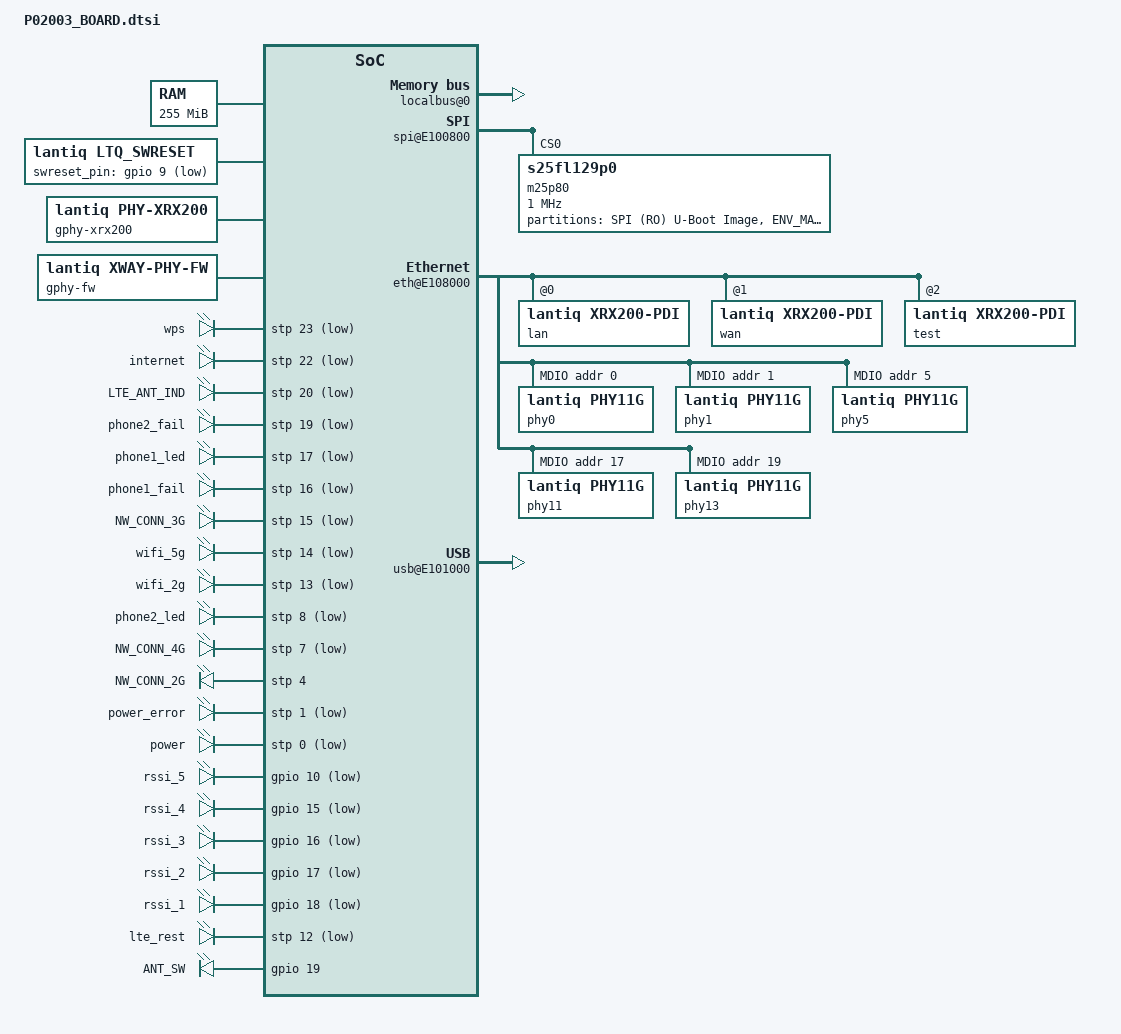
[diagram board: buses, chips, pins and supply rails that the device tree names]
/include/ "xRX330.dtsi"

/ {
	chosen {
		//bootargs = "console=ttyLTQ0,115200 init=/etc/preinit";
	};

	memory@0 {
		reg = <0x0 0xff00000>;
	};

	fpi@10000000 {
		#address-cells = <1>;
		#size-cells = <1>;
		compatible = "lantiq,fpi", "simple-bus";
		ranges = <0x0 0x10000000 0xEEFFFFF>;
		reg = <0x10000000 0xEF00000>;

		localbus@0 {
			#address-cells = <2>;
			#size-cells = <1>;
			compatible = "lantiq,localbus", "simple-bus";

		};

		spi@E100800 {
			compatible = "lantiq,spi-xway-broken", "lantiq,spi-ssc";
			reg = <0xE100800 0x100>;
			interrupt-parent = <&icu0>;
			interrupts = <22 23 24>;
			#address-cells = <1>;
			#size-cells = <1>;

			m25p80@0 {
				#address-cells = <1>;
				#size-cells = <1>;
				compatible = "s25fl129p0";
				reg = <0 0>;
				linux,modalias = "m25p80", "mx25l3205d";
				spi-max-frequency = <1000000>;

				partition@0 {
					reg = <0x0 0x20000>;
					label = "SPI (RO) U-Boot Image";
					read-only;
				};

				partition@20000 {
					reg = <0x20000 0x10000>;
					label = "ENV_MAC";
					read-only;
				};

				partition@30000 {
					reg = <0x30000 0x10000>;
					label = "DPF";
					read-only;
				};

				partition@40000 {
					reg = <0x40000 0x10000>;
					label = "NVRAM";
					read-only;
				};

				partition@500000 {
					reg = <0x50000 0x003a0000>;
					label = "kernel";
				};
			};
		};

		gpio: pinmux@E100B10 {
			compatible = "lantiq,pinctrl-ar10";
			pinctrl-names = "default";
			pinctrl-0 = <&state_default>;

			interrupt-parent = <&icu0>;
			interrupts = <166 135 66 40 41 42 38>;

			#gpio-cells = <2>;
			gpio-controller;
			reg = <0xE100B10 0xA0>;

			state_default: pinmux {
				exin3 {
					lantiq,groups = "exin3";
					lantiq,function = "exin";
				};
				stp {
					lantiq,groups = "stp";
					lantiq,function = "stp";
				};
				spi {
					lantiq,groups = "spi", "spi_cs1";
					lantiq,function = "spi";
				};
				nand {
					lantiq,groups = "nand cle", "nand ale",
							"nand rd", "nand rdy";
					lantiq,function = "ebu";
				};
				mdio {
					lantiq,groups = "mdio";
					lantiq,function = "mdio";
				};
				tdm {
					lantiq,groups = "tdm";
					lantiq,function = "tdm";
				};
				conf_out {
					lantiq,pins = "io24", "io13", "io49", /* nand cle, ale and rd */
							"io4", "io5", "io6", /* stp */
							"io15", "io17", "io18", /* spi */
							"io21",
							"io33";
					lantiq,open-drain = <0>;
					lantiq,pull = <0>;
					lantiq,output = <1>;
				};
				conf_in {
					lantiq,pins = "io39", /* exin3 */
						       "io48", /* nand rdy */
						       "io16"; /* spi in */

					lantiq,pull = <2>;
				};
				tdm_conf_di {
					lantiq,pins = "io26";
					lantiq,output = <0>;
				};
				tdm_conf_dsc {
					lantiq,pins = "io27";
					lantiq,open-drain = <0>;
					lantiq,output = <0>;
				};
				tdm_conf_fsc {
					lantiq,pins = "io58";
					lantiq,open-drain = <0>;
					lantiq,output = <0>;
				};
			};
			tdm_pins_do: tdm_default {
				tdm_do {
					lantiq,groups = "tdm_do";
					lantiq,function = "tdm_do";
				};
				tdm_conf_do {
					lantiq,pins = "io25";
					lantiq,open-drain = <0>;
					lantiq,output = <1>;
				};
			};
			tdm_pins_gpio: tdm_no_tx {
				tdm_gpio {
					lantiq,groups = "tdm_gpio";
					lantiq,function = "tdm_gpio";
				};
				tdm_conf_gpio {
					lantiq,pins = "io25";
					lantiq,open-drain = <0>;
					lantiq,output = <0>;
				};
			};
		};

		eth@E108000 {
			#address-cells = <1>;
			#size-cells = <0>;
			compatible = "lantiq,xrx200-net";
			reg = <	0xE108000 0x3000 /* switch */
				0xE10B100 0x70 /* mdio */
				0xE10B1D8 0x30 /* mii */
				0xE10B308 0x30 /* pmac */
			>;
			interrupt-parent = <&icu0>;
			interrupts = <73 72>;

			lan: interface@0 {
				compatible = "lantiq,xrx200-pdi";
				#address-cells = <1>;
				#size-cells = <0>;
				reg = <0>;
				mac-address = [ 00 11 22 33 44 55 ];

				ethernet@0 {
					compatible = "lantiq,xrx200-pdi-port";
					reg = <0>;
					phy-mode = "rgmii";
					phy-handle = <&phy0>;
				};
				ethernet@1 {
					compatible = "lantiq,xrx200-pdi-port";
					reg = <1>;
					phy-mode = "rgmii";
					phy-handle = <&phy1>;
				};
				ethernet@2 {
					compatible = "lantiq,xrx200-pdi-port";
					reg = <2>;
					phy-mode = "gmii";
					phy-handle = <&phy11>;
				};
			};

			wan: interface@1 {
				compatible = "lantiq,xrx200-pdi";
				#address-cells = <1>;
				#size-cells = <0>;
				reg = <1>;
				mac-address = [ 00 11 22 33 44 56 ];
				lantiq,wan;
				ethernet@5 {
					compatible = "lantiq,xrx200-pdi-port";
					reg = <5>;
					phy-mode = "rgmii";
					phy-handle = <&phy5>;
				};
			};

			test: interface@2 {
				compatible = "lantiq,xrx200-pdi";
				#address-cells = <1>;
				#size-cells = <0>;
				reg = <2>;
				mac-address = [ 00 11 22 33 44 57 ];
				ethernet@4 {
					compatible = "lantiq,xrx200-pdi-port";
					reg = <4>;
					phynmode0 = "gmii";
					phy-handle = <&phy13>;
				};
			};

			mdio@0 {
				#address-cells = <1>;
				#size-cells = <0>;
				compatible = "lantiq,xrx200-mdio";
				phy0: ethernet-phy@0 {
					reg = <0x0>;
					compatible = "lantiq,phy11g", "ethernet-phy-ieee802.3-c22";
				};
				phy1: ethernet-phy@1 {
					reg = <0x1>;
					compatible = "lantiq,phy11g", "ethernet-phy-ieee802.3-c22";
				};
				phy5: ethernet-phy@5 {
					reg = <0x5>;
					compatible = "lantiq,phy11g", "ethernet-phy-ieee802.3-c22";
				};
				phy11: ethernet-phy@11 {
					reg = <0x11>;
					compatible = "lantiq,phy11g", "ethernet-phy-ieee802.3-c22";
				};
				phy13: ethernet-phy@13 {
					reg = <0x13>;
					compatible = "lantiq,phy11g", "ethernet-phy-ieee802.3-c22";
				};
			};
		};

		eth@E108000 {
		        #address-cells = <1>;
		        #size-cells = <0>;
		        compatible = "lantiq,xway-net";
		        reg = < 0xE108000 0x3000 /* switch */
		        		0xE10B100 0x70 /* mdio */
		               	0xE10B1D8 0x30 /* mii */
		                0xE10B308 0x30 /* pmac */
		        >;
		};

		gswitch@E108000 {
		        #address-cells = <1>;
		        #size-cells = <0>;
				compatible = "lantiq,xway-gsw2x"; /*GSW2X SWAPI */
		        reg = <0xE108000 0x3000>;
		};

		stp: stp@E100BB0 {
			compatible = "lantiq,gpio-stp-xway";
			reg = <0xE100BB0 0x40>;
			#gpio-cells = <2>;
			gpio-controller;

			lantiq,shadow = <0xffff>;
			lantiq,groups = <0x7>;
			/* lantiq,dsl = <0x3>; */
			lantiq,phy1 = <0x2>;
			lantiq,phy2 = <0x2>;
			lantiq,phy3 = <0x2>;
			lantiq,phy4 = <0x2>;
			/* lantiq,rising; */
		};

		usb@E101000 {
			status = "okay";
			vbus = <&stp 0 0> , <&stp 0 0>;
			/*led  = <&gpio 31 0> , <&gpio 30 0>;*/
			/*as_host    = <1 1>;*/
			oc_off     = <1 1>;
		};
	};

	tdm {
		compatible = "lantiq,tdm";
		pinctrl-names = "default", "no_tx";
		pinctrl-0 = <&tdm_pins_do>;
		pinctrl-1 = <&tdm_pins_gpio>;
		status = "okay";
	};

	ltq_swreset {
		compatible = "lantiq,ltq_swreset";
		swreset_pin = <&gpio 9 1>;
		swreset_bit = <1>;
		status = "okay";
	};

	gphy-xrx200 {
		compatible = "lantiq,phy-xrx200";
		firmware = "lantiq/ltq_fw_PHY11G_IP_1v5_xRx3xx_A21_R8434.bin";
		phys = [ 00 01 02 03 ];
	};

	gphy-fw {
		compatible = "lantiq,xway-phy-fw";
		fw-mode = "11G-FW"; /*"11G-FW"*/ /*22F-FW*/
		no_of_phys = <4>;
	};

	gpio-keys-polled {
		compatible = "gpio-keys-polled";
		#address-cells = <1>;
		#size-cells = <0>;
		poll-interval = <100>;

	};

	gpio-leds {
		compatible = "gpio-leds";

		led_wps {
			label = "wps";
			gpios = <&stp 23 1>;
		};
		led_web {
			label = "internet";
			gpios = <&stp 22 1>;
		};
		led_internal_ant {
			label = "LTE_ANT_IND";
			gpios = <&stp 20 1>;
		};
		led_ph2_sip_fail {
			label = "phone2_fail";
			gpios = <&stp 19 1>;
		};
		led_voip_port_1 {
			label = "phone1_led";
			gpios = <&stp 17 1>;
		};
		led_ph1_sip_fail {
			label = "phone1_fail";
			gpios = <&stp 16 1>;
		};

		led_external_ant {
			label = "NW_CONN_3G";
			gpios = <&stp 15 1>;
		};
		led_wifi_5g {
			label = "wifi_5g";
			gpios = <&stp 14 1>;
		};
		led_wifi_2g {
			label = "wifi_2g";
			gpios = <&stp 13 1>;
		};
		led_voip_port_2 {
			label = "phone2_led";
			gpios = <&stp 8 1>;
		};

		led_3g_link {
			label = "NW_CONN_4G";
			gpios = <&stp 7 1>;
		};
		led_2g_mode {
			label = "NW_CONN_2G";
			gpios = <&stp 4 0>;
		};
		led_power_error {
			label = "power_error";
			gpios = <&stp 1 1>;
		};
		led_power {
			label = "power";
			gpios = <&stp 0 1>;
		};

		led_rssi_1 {
			label = "rssi_5";
			gpios = <&gpio 10 1>;
		};
		led_rssi_2 {
			label = "rssi_4";
			gpios = <&gpio 15 1>;
		};
		led_rssi_3 {
			label = "rssi_3";
			gpios = <&gpio 16 1>;
		};
		led_rssi_4 {
			label = "rssi_2";
			gpios = <&gpio 17 1>;
		};
		led_rssi_5 {
			label = "rssi_1";
			gpios = <&gpio 18 1>;
		};

		/* the below are not real LED, just an output IO */
		led_lte_reset {
			label = "lte_rest";
			gpios = <&stp 12 1>;
		};

		led_ant_sw {
			label = "ANT_SW";
			gpios = <&gpio 19 0>;
		};
	};

	cpuclocks  {
		compatible = "lantiq,scaling-frequencies"; 
/*
		lantiq,cpuclocks  =  <600000000 300000000 300000000 150000000>;
		lantiq,ddrclocks  =  <300000000 300000000 150000000 150000000>;
*/
		lantiq,cpuclocks  =  <720000000 360000000 360000000 180000000>;
		lantiq,ddrclocks  =  <360000000 360000000 180000000 180000000>;
	};
};
